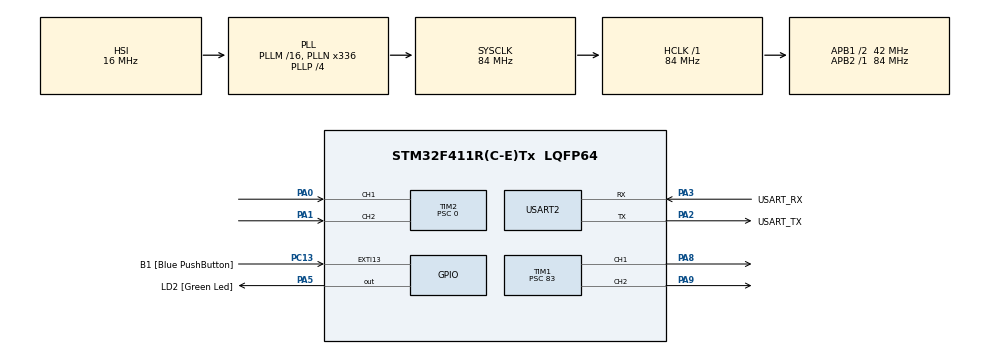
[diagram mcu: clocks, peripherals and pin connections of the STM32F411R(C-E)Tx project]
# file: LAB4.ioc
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Mcu.Family=STM32F4
Mcu.Name=STM32F411R(C-E)Tx
Mcu.Package=LQFP64
NVIC.PriorityGroup=NVIC_PRIORITYGROUP_0
PA0-WKUP.Signal=S_TIM2_CH1_ETR
PA1.Signal=S_TIM2_CH2
PA13.GPIO_Label=TMS
PA13.Mode=Trace_Asynchronous_SW
PA13.Signal=SYS_JTMS-SWDIO
PA14.GPIO_Label=TCK
PA14.Mode=Trace_Asynchronous_SW
PA14.Signal=SYS_JTCK-SWCLK
PA2.GPIO_Label=USART_TX
PA2.Mode=Asynchronous
PA2.Signal=USART2_TX
PA3.GPIO_Label=USART_RX
PA3.Mode=Asynchronous
PA3.Signal=USART2_RX
PA5.GPIO_Label=LD2 [Green Led]
PA5.Signal=GPIO_Output
PA8.Signal=S_TIM1_CH1
PA9.Signal=S_TIM1_CH2
PB3.GPIO_Label=SWO
PB3.Mode=Trace_Asynchronous_SW
PB3.Signal=SYS_JTDO-SWO
PC13-ANTI_TAMP.GPIO_Label=B1 [Blue PushButton]
PC13-ANTI_TAMP.GPIO_ModeDefaultEXTI=GPIO_MODE_IT_FALLING
PC13-ANTI_TAMP.Signal=GPXTI13
PC14-OSC32_IN.Mode=LSE-External-Oscillator
PC14-OSC32_IN.Signal=RCC_OSC32_IN
PC15-OSC32_OUT.Mode=LSE-External-Oscillator
PC15-OSC32_OUT.Signal=RCC_OSC32_OUT
PH0\ -\ OSC_IN.Mode=HSE-External-Clock-Source
PH0\ -\ OSC_IN.Signal=RCC_OSC_IN
PH1\ -\ OSC_OUT.Mode=HSE-External-Clock-Source
PH1\ -\ OSC_OUT.Signal=RCC_OSC_OUT
ProjectManager.HeapSize=0x200
ProjectManager.StackSize=0x400
ProjectManager.TargetToolchain=STM32CubeIDE
RCC.48MHZClocksFreq_Value=84000000
RCC.AHBFreq_Value=84000000
RCC.APB1CLKDivider=RCC_HCLK_DIV2
RCC.APB1Freq_Value=42000000
RCC.APB1TimFreq_Value=84000000
RCC.APB2Freq_Value=84000000
RCC.APB2TimFreq_Value=84000000
RCC.CortexFreq_Value=84000000
RCC.FLatency-AdvancedSettings=FLASH_LATENCY_2
RCC.HCLKFreq_Value=84000000
RCC.HSE_VALUE=8000000
RCC.HSI_VALUE=16000000
RCC.PLLN=336
RCC.PLLP=RCC_PLLP_DIV4
RCC.SYSCLKFreq_VALUE=84000000
RCC.SYSCLKSource=RCC_SYSCLKSOURCE_PLLCLK
RCC.VCOOutputFreq_Value=336000000
SH.S_TIM1_CH1.0=TIM1_CH1,PWM Generation1 CH1
SH.S_TIM1_CH2.0=TIM1_CH2,PWM Generation2 CH2
SH.S_TIM2_CH1_ETR.0=TIM2_CH1,Encoder_Interface
SH.S_TIM2_CH2.0=TIM2_CH2,Encoder_Interface
TIM1.Channel-PWM\ Generation1\ CH1=TIM_CHANNEL_1
TIM1.Channel-PWM\ Generation2\ CH2=TIM_CHANNEL_2
TIM1.Period=999
TIM1.Prescaler=83
TIM1.Pulse-PWM\ Generation1\ CH1=500
TIM1.Pulse-PWM\ Generation2\ CH2=500
TIM2.EncoderMode=TIM_ENCODERMODE_TI12
TIM2.Period=307199
TIM2.Prescaler=0
USART2.VirtualMode=VM_ASYNC
VP_TIM1_VS_ClockSourceINT.Mode=Internal
board=NUCLEO-F411RE

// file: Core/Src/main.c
/* USER CODE BEGIN Header */
/**
  ******************************************************************************
  * @file           : main.c
  * @brief          : Main program body
  ******************************************************************************
  * @attention
  *
  * Copyright (c) 2023 STMicroelectronics.
  * All rights reserved.
  *
  * This software is licensed under terms that can be found in the LICENSE file
  * in the root directory of this software component.
  * If no LICENSE file comes with this software, it is provided AS-IS.
  *
  ******************************************************************************
  */
/* USER CODE END Header */
#include "main.h"

/* USER CODE BEGIN Includes */
// �?ิ�?ต�?า
/* USER CODE END Includes */

TIM_HandleTypeDef htim1;
TIM_HandleTypeDef htim2;

UART_HandleTypeDef huart2;

/* USER CODE BEGIN PV */
uint32_t QEIReadRaw;
float motor ;
float setpoint ;
float s = 0 ;
float u = 0 ;
float p = 0 ;
float e = 0 ;
float K_P = 10;
float K_I = 5;
float K_D = 1;
/* USER CODE END PV */

void SystemClock_Config(void);
static void MX_GPIO_Init(void);
static void MX_USART2_UART_Init(void);
static void MX_TIM2_Init(void);
static void MX_TIM1_Init(void);
/* USER CODE BEGIN PFP */
void control();
/* USER CODE END PFP */

int main(void)
{

  /* MCU Configuration--------------------------------------------------------*/

  /* Reset of all peripherals, Initializes the Flash interface and the Systick. */
  HAL_Init();

  /* Configure the system clock */
  SystemClock_Config();

  /* Initialize all configured peripherals */
  MX_GPIO_Init();
  MX_USART2_UART_Init();
  MX_TIM2_Init();
  MX_TIM1_Init();
  /* USER CODE BEGIN 2 */

  HAL_TIM_Base_Start(&htim1);
  HAL_TIM_Base_Start(&htim2);
  HAL_TIM_PWM_Start(&htim1, TIM_CHANNEL_1);
  HAL_TIM_PWM_Start(&htim1, TIM_CHANNEL_2);
  HAL_TIM_Encoder_Start(&htim2, TIM_CHANNEL_1|TIM_CHANNEL_2);

  /* USER CODE END 2 */

  /* Infinite loop */
  while (1)
  {

    /* USER CODE BEGIN 3 */
	  static uint32_t timestamp =0;
	  if (HAL_GetTick()>timestamp)
	  {
		  timestamp = HAL_GetTick() + 10;

		  control();

		  if(QEIReadRaw < setpoint)
		  {
			  __HAL_TIM_SET_COMPARE(&htim1,TIM_CHANNEL_2,u);
		  }

		  if(QEIReadRaw > setpoint)
		  {
			  __HAL_TIM_SET_COMPARE(&htim1,TIM_CHANNEL_1,u*-1);
		  }

		  if(QEIReadRaw == setpoint)
		  {
			  __HAL_TIM_SET_COMPARE(&htim1,TIM_CHANNEL_1,0);
			  __HAL_TIM_SET_COMPARE(&htim1,TIM_CHANNEL_2,0);
		  }

	  }

  }
  /* USER CODE END 3 */
}

void SystemClock_Config(void)
{
  RCC_OscInitTypeDef RCC_OscInitStruct = {0};
  RCC_ClkInitTypeDef RCC_ClkInitStruct = {0};

  /** Configure the main internal regulator output voltage
  */
  __HAL_RCC_PWR_CLK_ENABLE();
  __HAL_PWR_VOLTAGESCALING_CONFIG(PWR_REGULATOR_VOLTAGE_SCALE1);

  /** Initializes the RCC Oscillators according to the specified parameters
  * in the RCC_OscInitTypeDef structure.
  */
  RCC_OscInitStruct.OscillatorType = RCC_OSCILLATORTYPE_HSI;
  RCC_OscInitStruct.HSIState = RCC_HSI_ON;
  RCC_OscInitStruct.HSICalibrationValue = RCC_HSICALIBRATION_DEFAULT;
  RCC_OscInitStruct.PLL.PLLState = RCC_PLL_ON;
  RCC_OscInitStruct.PLL.PLLSource = RCC_PLLSOURCE_HSI;
  RCC_OscInitStruct.PLL.PLLM = 16;
  RCC_OscInitStruct.PLL.PLLN = 336;
  RCC_OscInitStruct.PLL.PLLP = RCC_PLLP_DIV4;
  RCC_OscInitStruct.PLL.PLLQ = 4;
  if (HAL_RCC_OscConfig(&RCC_OscInitStruct) != HAL_OK)
  {
    Error_Handler();
  }

  /** Initializes the CPU, AHB and APB buses clocks
  */
  RCC_ClkInitStruct.ClockType = RCC_CLOCKTYPE_HCLK|RCC_CLOCKTYPE_SYSCLK
                              |RCC_CLOCKTYPE_PCLK1|RCC_CLOCKTYPE_PCLK2;
  RCC_ClkInitStruct.SYSCLKSource = RCC_SYSCLKSOURCE_PLLCLK;
  RCC_ClkInitStruct.AHBCLKDivider = RCC_SYSCLK_DIV1;
  RCC_ClkInitStruct.APB1CLKDivider = RCC_HCLK_DIV2;
  RCC_ClkInitStruct.APB2CLKDivider = RCC_HCLK_DIV1;

  if (HAL_RCC_ClockConfig(&RCC_ClkInitStruct, FLASH_LATENCY_2) != HAL_OK)
  {
    Error_Handler();
  }
}

static void MX_TIM1_Init(void)
{

  TIM_ClockConfigTypeDef sClockSourceConfig = {0};
  TIM_MasterConfigTypeDef sMasterConfig = {0};
  TIM_OC_InitTypeDef sConfigOC = {0};
  TIM_BreakDeadTimeConfigTypeDef sBreakDeadTimeConfig = {0};

  htim1.Instance = TIM1;
  htim1.Init.Prescaler = 83;
  htim1.Init.CounterMode = TIM_COUNTERMODE_UP;
  htim1.Init.Period = 999;
  htim1.Init.ClockDivision = TIM_CLOCKDIVISION_DIV1;
  htim1.Init.RepetitionCounter = 0;
  htim1.Init.AutoReloadPreload = TIM_AUTORELOAD_PRELOAD_DISABLE;
  if (HAL_TIM_Base_Init(&htim1) != HAL_OK)
  {
    Error_Handler();
  }
  sClockSourceConfig.ClockSource = TIM_CLOCKSOURCE_INTERNAL;
  if (HAL_TIM_ConfigClockSource(&htim1, &sClockSourceConfig) != HAL_OK)
  {
    Error_Handler();
  }
  if (HAL_TIM_PWM_Init(&htim1) != HAL_OK)
  {
    Error_Handler();
  }
  sMasterConfig.MasterOutputTrigger = TIM_TRGO_RESET;
  sMasterConfig.MasterSlaveMode = TIM_MASTERSLAVEMODE_DISABLE;
  if (HAL_TIMEx_MasterConfigSynchronization(&htim1, &sMasterConfig) != HAL_OK)
  {
    Error_Handler();
  }
  sConfigOC.OCMode = TIM_OCMODE_PWM1;
  sConfigOC.Pulse = 500;
  sConfigOC.OCPolarity = TIM_OCPOLARITY_HIGH;
  sConfigOC.OCNPolarity = TIM_OCNPOLARITY_HIGH;
  sConfigOC.OCFastMode = TIM_OCFAST_DISABLE;
  sConfigOC.OCIdleState = TIM_OCIDLESTATE_RESET;
  sConfigOC.OCNIdleState = TIM_OCNIDLESTATE_RESET;
  if (HAL_TIM_PWM_ConfigChannel(&htim1, &sConfigOC, TIM_CHANNEL_1) != HAL_OK)
  {
    Error_Handler();
  }
  if (HAL_TIM_PWM_ConfigChannel(&htim1, &sConfigOC, TIM_CHANNEL_2) != HAL_OK)
  {
    Error_Handler();
  }
  sBreakDeadTimeConfig.OffStateRunMode = TIM_OSSR_DISABLE;
  sBreakDeadTimeConfig.OffStateIDLEMode = TIM_OSSI_DISABLE;
  sBreakDeadTimeConfig.LockLevel = TIM_LOCKLEVEL_OFF;
  sBreakDeadTimeConfig.DeadTime = 0;
  sBreakDeadTimeConfig.BreakState = TIM_BREAK_DISABLE;
  sBreakDeadTimeConfig.BreakPolarity = TIM_BREAKPOLARITY_HIGH;
  sBreakDeadTimeConfig.AutomaticOutput = TIM_AUTOMATICOUTPUT_DISABLE;
  if (HAL_TIMEx_ConfigBreakDeadTime(&htim1, &sBreakDeadTimeConfig) != HAL_OK)
  {
    Error_Handler();
  }
  HAL_TIM_MspPostInit(&htim1);

}

static void MX_TIM2_Init(void)
{

  TIM_Encoder_InitTypeDef sConfig = {0};
  TIM_MasterConfigTypeDef sMasterConfig = {0};

  htim2.Instance = TIM2;
  htim2.Init.Prescaler = 0;
  htim2.Init.CounterMode = TIM_COUNTERMODE_UP;
  htim2.Init.Period = 307199;
  htim2.Init.ClockDivision = TIM_CLOCKDIVISION_DIV1;
  htim2.Init.AutoReloadPreload = TIM_AUTORELOAD_PRELOAD_DISABLE;
  sConfig.EncoderMode = TIM_ENCODERMODE_TI12;
  sConfig.IC1Polarity = TIM_ICPOLARITY_RISING;
  sConfig.IC1Selection = TIM_ICSELECTION_DIRECTTI;
  sConfig.IC1Prescaler = TIM_ICPSC_DIV1;
  sConfig.IC1Filter = 0;
  sConfig.IC2Polarity = TIM_ICPOLARITY_RISING;
  sConfig.IC2Selection = TIM_ICSELECTION_DIRECTTI;
  sConfig.IC2Prescaler = TIM_ICPSC_DIV1;
  sConfig.IC2Filter = 0;
  if (HAL_TIM_Encoder_Init(&htim2, &sConfig) != HAL_OK)
  {
    Error_Handler();
  }
  sMasterConfig.MasterOutputTrigger = TIM_TRGO_RESET;
  sMasterConfig.MasterSlaveMode = TIM_MASTERSLAVEMODE_DISABLE;
  if (HAL_TIMEx_MasterConfigSynchronization(&htim2, &sMasterConfig) != HAL_OK)
  {
    Error_Handler();
  }

}

static void MX_USART2_UART_Init(void)
{

  huart2.Instance = USART2;
  huart2.Init.BaudRate = 115200;
  huart2.Init.WordLength = UART_WORDLENGTH_8B;
  huart2.Init.StopBits = UART_STOPBITS_1;
  huart2.Init.Parity = UART_PARITY_NONE;
  huart2.Init.Mode = UART_MODE_TX_RX;
  huart2.Init.HwFlowCtl = UART_HWCONTROL_NONE;
  huart2.Init.OverSampling = UART_OVERSAMPLING_16;
  if (HAL_UART_Init(&huart2) != HAL_OK)
  {
    Error_Handler();
  }

}

static void MX_GPIO_Init(void)
{
  GPIO_InitTypeDef GPIO_InitStruct = {0};

  /* GPIO Ports Clock Enable */
  __HAL_RCC_GPIOC_CLK_ENABLE();
  __HAL_RCC_GPIOH_CLK_ENABLE();
  __HAL_RCC_GPIOA_CLK_ENABLE();
  __HAL_RCC_GPIOB_CLK_ENABLE();

  /*Configure GPIO pin Output Level */
  HAL_GPIO_WritePin(LD2_GPIO_Port, LD2_Pin, GPIO_PIN_RESET);

  /*Configure GPIO pin : B1_Pin */
  GPIO_InitStruct.Pin = B1_Pin;
  GPIO_InitStruct.Mode = GPIO_MODE_IT_FALLING;
  GPIO_InitStruct.Pull = GPIO_NOPULL;
  HAL_GPIO_Init(B1_GPIO_Port, &GPIO_InitStruct);

  /*Configure GPIO pin : LD2_Pin */
  GPIO_InitStruct.Pin = LD2_Pin;
  GPIO_InitStruct.Mode = GPIO_MODE_OUTPUT_PP;
  GPIO_InitStruct.Pull = GPIO_NOPULL;
  GPIO_InitStruct.Speed = GPIO_SPEED_FREQ_LOW;
  HAL_GPIO_Init(LD2_GPIO_Port, &GPIO_InitStruct);

}

/* USER CODE BEGIN 4 */
void control()
{
	QEIReadRaw = __HAL_TIM_GET_COUNTER(&htim2) * 0.117185 ;
	e = setpoint - QEIReadRaw;
	s = s +e;
	u = (K_P*e) + (K_I*s) + (K_D*(e-p));
	p = e;
};
/* USER CODE END 4 */

void Error_Handler(void)
{
  __disable_irq();
  while (1)
  {
  }
}
